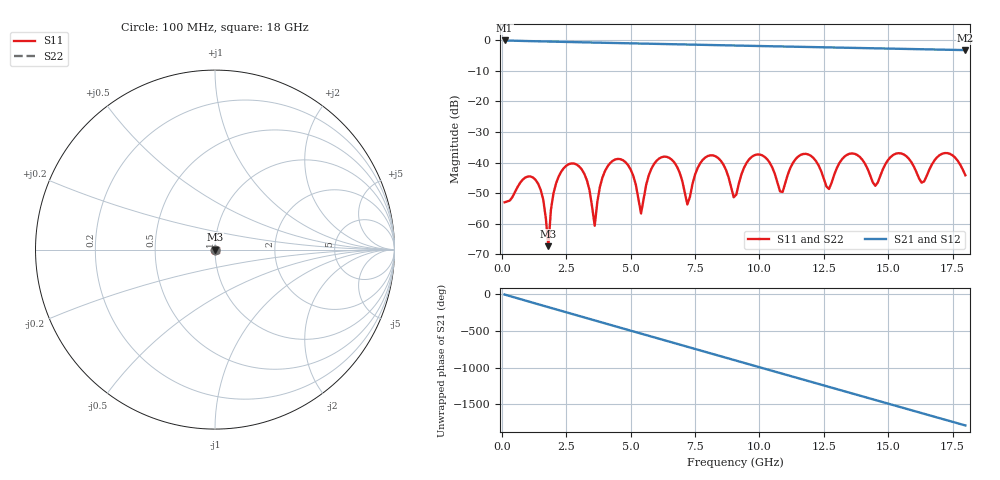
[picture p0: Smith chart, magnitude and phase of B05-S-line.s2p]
! yapnr rf coupon B: B05 S L40 (line, family S)
! stackup JLC06161H-2116C, nominal parameters; reference planes 10 mm from each end; 50 ohm (renormalized from the line's Zc)
! model: 2D quasi-static RLGC (Djordjevic-Sarkar, Huray roughness, Wheeler loss); generated by python -m yapnr.rf.coupons expected
# GHz S DB R 50
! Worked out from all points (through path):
!   180 points, 100 MHz to 18 GHz, reference 50 ohm
!   highest |S21| = -0.05 dB at 100 MHz (marker M1); lowest = -3.2 dB at 18 GHz (marker M2)
!   group delay of S21, straight-line fit = 275 ps
!   lowest |S11| = -67.3 dB at 1.8 GHz (marker M3), VSWR 1.00, Z = 50 + j0.0331 ohm
!   |S11| at or under -10 dB: start of sweep to end of sweep
!   |S22| runs from -67.3 to -36.9 dB; largest |S21 - S12| = 0
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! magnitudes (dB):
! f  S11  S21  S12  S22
! 100 MHz  -53.0  0.0  0.0  -53.0
! 1.3 GHz  -45.6  -0.3  -0.3  -45.6
! 1.8 GHz  -67.3  -0.4  -0.4  -67.3
! 2.2 GHz  -44.5  -0.5  -0.5  -44.5
! 3.1 GHz  -42.3  -0.6  -0.6  -42.3
! 3.6 GHz  -60.6  -0.7  -0.7  -60.6
! 4.2 GHz  -40.1  -0.8  -0.8  -40.1
! 4.9 GHz  -40.9  -1.0  -1.0  -40.9
! 5.4 GHz  -56.6  -1.1  -1.1  -56.6
! 6.1 GHz  -38.7  -1.2  -1.2  -38.7
! 6.8 GHz  -41.4  -1.3  -1.3  -41.4
! 7.2 GHz  -53.7  -1.4  -1.4  -53.7
! 8.1 GHz  -37.6  -1.5  -1.5  -37.6
! 9.1 GHz  -50.5  -1.7  -1.7  -50.5
! 9.8 GHz  -37.6  -1.8  -1.8  -37.6
! 10.9 GHz  -49.6  -2.0  -2.0  -49.6
! 12.1 GHz  -38.5  -2.2  -2.2  -38.5
! 12.7 GHz  -48.6  -2.3  -2.3  -48.6
! 13.4 GHz  -37.5  -2.4  -2.4  -37.5
! 14.5 GHz  -47.6  -2.6  -2.6  -47.6
! 15.1 GHz  -38.1  -2.7  -2.7  -38.1
! 18 GHz  -44.1  -3.2  -3.2  -44.1
